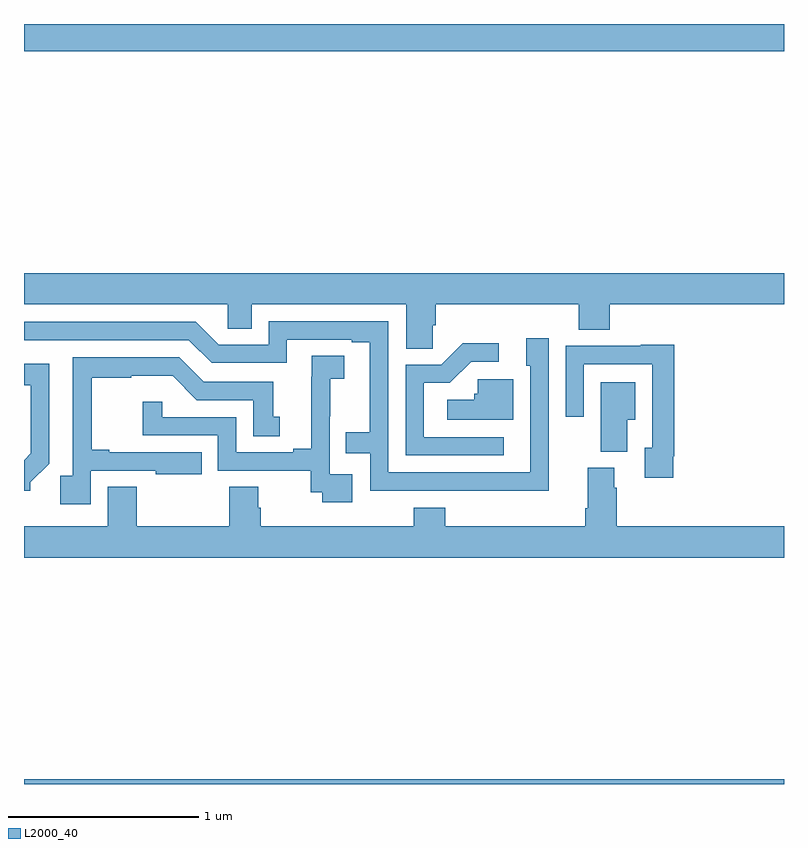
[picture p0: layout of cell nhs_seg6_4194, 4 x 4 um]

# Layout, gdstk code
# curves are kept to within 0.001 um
import gdstk
lib = gdstk.Library(unit=1e-6, precision=1e-09)
def R(c, l, rs):  # rectangles x0, y0, x1, y1
    for r in rs: c.add(gdstk.rectangle(r[:2], r[2:], *l))
def P(c, l, *ps):  # polygons
    for p in ps: c.add(gdstk.Polygon(p, *l))
L2000_40 = (2000, 40)

nhs_seg6_4194 = lib.new_cell('nhs_seg6_4194')
R(nhs_seg6_4194, L2000_40, [(359,923.5,363,923.524), (359,927.356,363,927.5)])
P(nhs_seg6_4194, L2000_40, [(361.152,925.915),(361.166,925.915),(361.166,926.024),(361.919,926.024),(361.919,925.891),(362.084,925.891),(362.084,926.024),(363,926.024),(363,926.188),(359,926.188),(359,926.024),(360.072,926.024),(360.072,925.897),(360.199,925.897),(360.199,926.024),(361.013,926.024),(361.013,925.792),(361.152,925.792)],
  [(361.763,925.346),(361.761,925.346),(361.761,925.846),(361.643,925.846),(361.643,925.701),(361.665,925.701),(361.665,925.14),(360.918,925.14),(360.918,925.935),(360.288,925.935),(360.288,925.812),(360.024,925.812),(359.904,925.932),(359,925.932),(359,925.836),(359.868,925.836),(359.988,925.716),(360.384,925.716),(360.384,925.839),(360.725,925.839),(360.725,925.824),(360.821,925.824),(360.821,925.351),(360.694,925.351),(360.694,925.242),(360.822,925.242),(360.822,925.044),(361.763,925.043)],
  [(361.525,925.326),(361.104,925.326),(361.104,925.611),(361.242,925.611),(361.353,925.722),(361.498,925.722),(361.498,925.82),(361.31,925.82),(361.197,925.707),(361.008,925.707),(361.008,925.23),(361.525,925.23)],
  [(362.416,925.225),(362.423,925.225),(362.423,925.813),(362.247,925.813),(362.247,925.806),(361.851,925.806),(361.851,925.434),(361.947,925.434),(361.947,925.71),(362.307,925.71),(362.307,925.269),(362.267,925.269),(362.267,925.113),(362.416,925.113)],
  [(360.727,925.131),(360.609,925.131),(360.609,925.435),(360.611,925.435),(360.611,925.633),(360.685,925.633),(360.685,925.754),(360.514,925.754),(360.514,925.643),(360.512,925.643),(360.512,925.265),(360.416,925.265),(360.416,925.245),(360.117,925.245),(360.117,925.431),(359.727,925.431),(359.727,925.513),(359.626,925.513),(359.626,925.335),(360.021,925.335),(360.021,925.149),(360.508,925.149),(360.508,925.035),(360.571,925.035),(360.571,924.984),(360.727,924.984)],
  [(359.352,925.149),(359.693,925.149),(359.693,925.13),(359.936,925.13),(359.936,925.245),(359.449,925.245),(359.449,925.258),(359.357,925.258),(359.357,925.638),(359.564,925.638),(359.564,925.649),(359.782,925.649),(359.91,925.521),(360.206,925.521),(360.206,925.33),(360.346,925.33),(360.346,925.434),(360.313,925.434),(360.313,925.617),(359.946,925.617),(359.817,925.746),(359.256,925.746),(359.256,925.123),(359.191,925.123),(359.191,924.972),(359.352,924.972)],
  [(359.034,925.087),(359.133,925.186),(359.133,925.711),(359,925.711),(359,925.598),(359.036,925.598),(359.036,925.241),(359,925.205),(359,925.043),(359.034,925.043)],
  [(361.576,925.629),(361.389,925.629),(361.389,925.554),(361.37,925.554),(361.37,925.522),(361.227,925.522),(361.227,925.418),(361.576,925.418)],
  [(362.176,925.418),(362.218,925.418),(362.218,925.615),(362.036,925.615),(362.036,925.249),(362.176,925.249)],
  [(363,924.856),(362.12,924.856),(362.12,925.058),(362.107,925.058),(362.107,925.164),(361.967,925.164),(361.967,924.952),(361.955,924.952),(361.955,924.856),(361.217,924.856),(361.217,924.955),(361.052,924.955),(361.052,924.856),(360.245,924.856),(360.245,924.954),(360.232,924.954),(360.232,925.064),(360.08,925.064),(360.08,924.856),(359.594,924.856),(359.594,925.064),(359.441,925.064),(359.441,924.856),(359,924.856),(359,924.692),(363,924.692)])

lib.write_gds('nhs_seg6_4194.gds')
